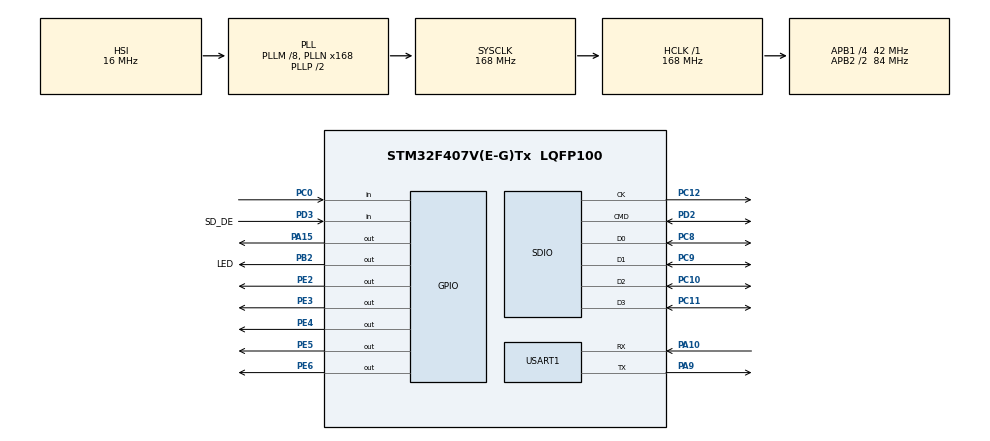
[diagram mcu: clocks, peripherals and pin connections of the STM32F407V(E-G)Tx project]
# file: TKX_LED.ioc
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Dma.Request0=SDIO
Dma.SDIO.0.Direction=DMA_PERIPH_TO_MEMORY
Dma.SDIO.0.FIFOMode=DMA_FIFOMODE_ENABLE
Dma.SDIO.0.FIFOThreshold=DMA_FIFO_THRESHOLD_FULL
Dma.SDIO.0.Instance=DMA2_Stream3
Dma.SDIO.0.MemBurst=DMA_MBURST_INC4
Dma.SDIO.0.MemDataAlignment=DMA_MDATAALIGN_WORD
Dma.SDIO.0.MemInc=DMA_MINC_ENABLE
Dma.SDIO.0.Mode=DMA_PFCTRL
Dma.SDIO.0.PeriphBurst=DMA_PBURST_INC4
Dma.SDIO.0.PeriphDataAlignment=DMA_PDATAALIGN_WORD
Dma.SDIO.0.PeriphInc=DMA_PINC_DISABLE
Dma.SDIO.0.Priority=DMA_PRIORITY_LOW
FATFS.BSP.number=1
FATFS0.BSP.STBoard=false
FATFS0.BSP.api=Unknown
FATFS0.BSP.instance=PD3
FATFS0.BSP.ip=GPIO
FATFS0.BSP.mode=Input
FATFS0.BSP.name=Detect_SDIO
FATFS0.BSP.solution=PD3
FREERTOS.Tasks01=defaultTask,24,128,StartDefaultTask,Default,NULL,Dynamic,NULL,NULL
Mcu.Family=STM32F4
Mcu.Name=STM32F407V(E-G)Tx
Mcu.Package=LQFP100
NVIC.DMA2_Stream3_IRQn=true\:5\:0\:false\:false\:true\:true\:false\:true\:true
NVIC.PriorityGroup=NVIC_PRIORITYGROUP_4
NVIC.SDIO_IRQn=true\:5\:0\:false\:false\:true\:true\:true\:true\:true
PA10.Mode=Asynchronous
PA10.Signal=USART1_RX
PA13.Mode=Serial_Wire
PA13.Signal=SYS_JTMS-SWDIO
PA14.Mode=Serial_Wire
PA14.Signal=SYS_JTCK-SWCLK
PA15.Signal=GPIO_Output
PA9.Mode=Asynchronous
PA9.Signal=USART1_TX
PB2.GPIO_Label=LED
PB2.GPIO_Speed=GPIO_SPEED_FREQ_LOW
PB2.PinState=GPIO_PIN_RESET
PB2.Signal=GPIO_Output
PC0.Signal=GPIO_Input
PC10.Mode=SD_4_bits_Wide_bus
PC10.Signal=SDIO_D2
PC11.Mode=SD_4_bits_Wide_bus
PC11.Signal=SDIO_D3
PC12.Mode=SD_4_bits_Wide_bus
PC12.Signal=SDIO_CK
PC8.Mode=SD_4_bits_Wide_bus
PC8.Signal=SDIO_D0
PC9.Mode=SD_4_bits_Wide_bus
PC9.Signal=SDIO_D1
PD2.Mode=SD_4_bits_Wide_bus
PD2.Signal=SDIO_CMD
PD3.GPIO_Label=SD_DE
PD3.Signal=GPIO_Input
PE2.GPIO_Speed=GPIO_SPEED_FREQ_VERY_HIGH
PE2.Signal=GPIO_Output
PE3.GPIO_Speed=GPIO_SPEED_FREQ_VERY_HIGH
PE3.Signal=GPIO_Output
PE4.GPIO_Speed=GPIO_SPEED_FREQ_VERY_HIGH
PE4.Signal=GPIO_Output
PE5.GPIO_Speed=GPIO_SPEED_FREQ_VERY_HIGH
PE5.Signal=GPIO_Output
PE6.GPIO_Speed=GPIO_SPEED_FREQ_VERY_HIGH
PE6.Signal=GPIO_Output
PH0-OSC_IN.Mode=HSE-External-Oscillator
PH0-OSC_IN.Signal=RCC_OSC_IN
PH1-OSC_OUT.Mode=HSE-External-Oscillator
PH1-OSC_OUT.Signal=RCC_OSC_OUT
ProjectManager.HeapSize=0x200
ProjectManager.StackSize=0x400
ProjectManager.TargetToolchain=MDK-ARM V5.32
RCC.48MHZClocksFreq_Value=48000000
RCC.AHBFreq_Value=168000000
RCC.APB1CLKDivider=RCC_HCLK_DIV4
RCC.APB1Freq_Value=42000000
RCC.APB1TimFreq_Value=84000000
RCC.APB2CLKDivider=RCC_HCLK_DIV2
RCC.APB2Freq_Value=84000000
RCC.APB2TimFreq_Value=168000000
RCC.CortexFreq_Value=168000000
RCC.HCLKFreq_Value=168000000
RCC.HSE_VALUE=8000000
RCC.HSI_VALUE=16000000
RCC.LSE_VALUE=32768
RCC.PLLM=8
RCC.PLLN=168
RCC.PLLQ=7
RCC.SYSCLKFreq_VALUE=168000000
RCC.SYSCLKSource=RCC_SYSCLKSOURCE_PLLCLK
RCC.VCOOutputFreq_Value=336000000
SDIO.ClockDiv=1
USART1.VirtualMode=VM_ASYNC
VP_FATFS_VS_SDIO.Mode=SDIO
VP_FREERTOS_VS_CMSIS_V2.Mode=CMSIS_V2
board=custom

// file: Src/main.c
/* USER CODE BEGIN Header */
/**
  ******************************************************************************
  * @file           : main.c
  * @brief          : Main program body
  ******************************************************************************
  * @attention
  *
  * Copyright (c) 2025 STMicroelectronics.
  * All rights reserved.
  *
  * This software is licensed under terms that can be found in the LICENSE file
  * in the root directory of this software component.
  * If no LICENSE file comes with this software, it is provided AS-IS.
  *
  ******************************************************************************
  */
/* USER CODE END Header */
#include "main.h"
#include "cmsis_os.h"
#include "dma.h"
#include "fatfs.h"
#include "sdio.h"
#include "usart.h"
#include "gpio.h"

void SystemClock_Config(void);
void MX_FREERTOS_Init(void);

int main(void)
{

  /* MCU Configuration--------------------------------------------------------*/

  /* Reset of all peripherals, Initializes the Flash interface and the Systick. */
  HAL_Init();

  /* Configure the system clock */
  SystemClock_Config();

  /* Initialize all configured peripherals */
  MX_GPIO_Init();
  MX_DMA_Init();
  MX_USART1_UART_Init();
  MX_SDIO_SD_Init();
  MX_FATFS_Init();

  /* Init scheduler */
  osKernelInitialize();

  /* Call init function for freertos objects (in cmsis_os2.c) */
  MX_FREERTOS_Init();

  /* Start scheduler */
  osKernelStart();

  /* We should never get here as control is now taken by the scheduler */

  /* Infinite loop */
  while (1)
  {

  }
}

void SystemClock_Config(void)
{
  RCC_OscInitTypeDef RCC_OscInitStruct = {0};
  RCC_ClkInitTypeDef RCC_ClkInitStruct = {0};

  /** Configure the main internal regulator output voltage
  */
  __HAL_RCC_PWR_CLK_ENABLE();
  __HAL_PWR_VOLTAGESCALING_CONFIG(PWR_REGULATOR_VOLTAGE_SCALE1);

  /** Initializes the RCC Oscillators according to the specified parameters
  * in the RCC_OscInitTypeDef structure.
  */
  RCC_OscInitStruct.OscillatorType = RCC_OSCILLATORTYPE_HSI;
  RCC_OscInitStruct.HSIState = RCC_HSI_ON;
  RCC_OscInitStruct.HSICalibrationValue = RCC_HSICALIBRATION_DEFAULT;
  RCC_OscInitStruct.PLL.PLLState = RCC_PLL_ON;
  RCC_OscInitStruct.PLL.PLLSource = RCC_PLLSOURCE_HSI;
  RCC_OscInitStruct.PLL.PLLM = 8;
  RCC_OscInitStruct.PLL.PLLN = 168;
  RCC_OscInitStruct.PLL.PLLP = RCC_PLLP_DIV2;
  RCC_OscInitStruct.PLL.PLLQ = 7;
  if (HAL_RCC_OscConfig(&RCC_OscInitStruct) != HAL_OK)
  {
    Error_Handler();
  }

  /** Initializes the CPU, AHB and APB buses clocks
  */
  RCC_ClkInitStruct.ClockType = RCC_CLOCKTYPE_HCLK|RCC_CLOCKTYPE_SYSCLK
                              |RCC_CLOCKTYPE_PCLK1|RCC_CLOCKTYPE_PCLK2;
  RCC_ClkInitStruct.SYSCLKSource = RCC_SYSCLKSOURCE_PLLCLK;
  RCC_ClkInitStruct.AHBCLKDivider = RCC_SYSCLK_DIV1;
  RCC_ClkInitStruct.APB1CLKDivider = RCC_HCLK_DIV4;
  RCC_ClkInitStruct.APB2CLKDivider = RCC_HCLK_DIV2;

  if (HAL_RCC_ClockConfig(&RCC_ClkInitStruct, FLASH_LATENCY_5) != HAL_OK)
  {
    Error_Handler();
  }
}

void Error_Handler(void)
{
  __disable_irq();
  while (1)
  {
  }
}

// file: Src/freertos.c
/* USER CODE BEGIN Header */
/**
  ******************************************************************************
  * File Name          : freertos.c
  * Description        : Code for freertos applications
  ******************************************************************************
  * @attention
  *
  * Copyright (c) 2025 STMicroelectronics.
  * All rights reserved.
  *
  * This software is licensed under terms that can be found in the LICENSE file
  * in the root directory of this software component.
  * If no LICENSE file comes with this software, it is provided AS-IS.
  *
  ******************************************************************************
  */
/* USER CODE END Header */

#include "FreeRTOS.h"
#include "task.h"
#include "main.h"
#include "cmsis_os.h"

/* USER CODE BEGIN Includes */
#include "74HC595.h"
#include "74HC165.h"

#include "fatfs.h"
/* USER CODE END Includes */

/* Definitions for defaultTask */
osThreadId_t defaultTaskHandle;
const osThreadAttr_t defaultTask_attributes = {
  .name = "defaultTask",
  .stack_size = 128 * 4,
  .priority = (osPriority_t) osPriorityNormal,
};

void StartDefaultTask(void *argument);

void MX_FREERTOS_Init(void); /* (MISRA C 2004 rule 8.1) */

void MX_FREERTOS_Init(void) {

  /* Create the thread(s) */
  /* creation of defaultTask */
  defaultTaskHandle = osThreadNew(StartDefaultTask, NULL, &defaultTask_attributes);

}

void StartDefaultTask(void *argument)
{
  /* USER CODE BEGIN StartDefaultTask */

  FATFS fs;
  FRESULT res;
  FIL file;
  UINT bytesWritten;
  char writeBuffer[64];
  char readBuffer[64] = {0};

  HC595_Init(); // Initialize the 74HC595
  HC165_Init(); // Initialize the 74HC165

  // Mount SD card
  res = f_mount(&fs, "0:", 1);
  if (res != FR_OK) {
    printf("SD card mount failed, error code: %d\n", res);
  } else {
    printf("SD card mounted successfully!\n");
  }

  // 创建文件夹
  res = f_mkdir("/testdir");
  if (res == FR_OK) {
    printf("Directory created successfully!\n");
  } else {
    printf("Failed to create directory, error code: %d\n", res);
  }

  res = f_open(&file, "/testdir/test.txt", FA_CREATE_ALWAYS | FA_WRITE);
  if (res == FR_OK) {
    // Prepare test data
    sprintf(writeBuffer, "STM32 SD Card Test: %lu\r\n", HAL_GetTick());

    // Write to file
    res = f_write(&file, writeBuffer, strlen(writeBuffer), &bytesWritten);
    if (res == FR_OK) {
      printf("Write successful, %u bytes written\r\n", bytesWritten);
    } else {
      printf("Write failed, error: %d\r\n", res);
    }
  }
  f_close(&file);
  res = f_open(&file, "/testdir/test.txt", FA_READ);
  if (res == FR_OK) {
    res == f_read(&file, readBuffer, sizeof(readBuffer) - 1, &bytesWritten);
    if (res == FR_OK) {
      readBuffer[bytesWritten] = '\0'; // Null-terminate the string
      printf("Read successful, %u bytes read: %s\r\n", bytesWritten, readBuffer);
    } else {
      printf("Read failed, error: %d\r\n", res);
    }
    f_close(&file);
  } else {
    printf("Failed to open file for reading, error: %d\r\n", res);
  }
  f_close(&file);

  /* Infinite loop */
  for(;;)
  {
    HAL_GPIO_TogglePin(LED_GPIO_Port, LED_Pin);
    HC595_ToggleIO(0);
    HC595_ToggleIO(1);
    HC595_ToggleIO(2);
    HC595_ToggleIO(3);
    osDelay(1000);
  }
  /* USER CODE END StartDefaultTask */
}
